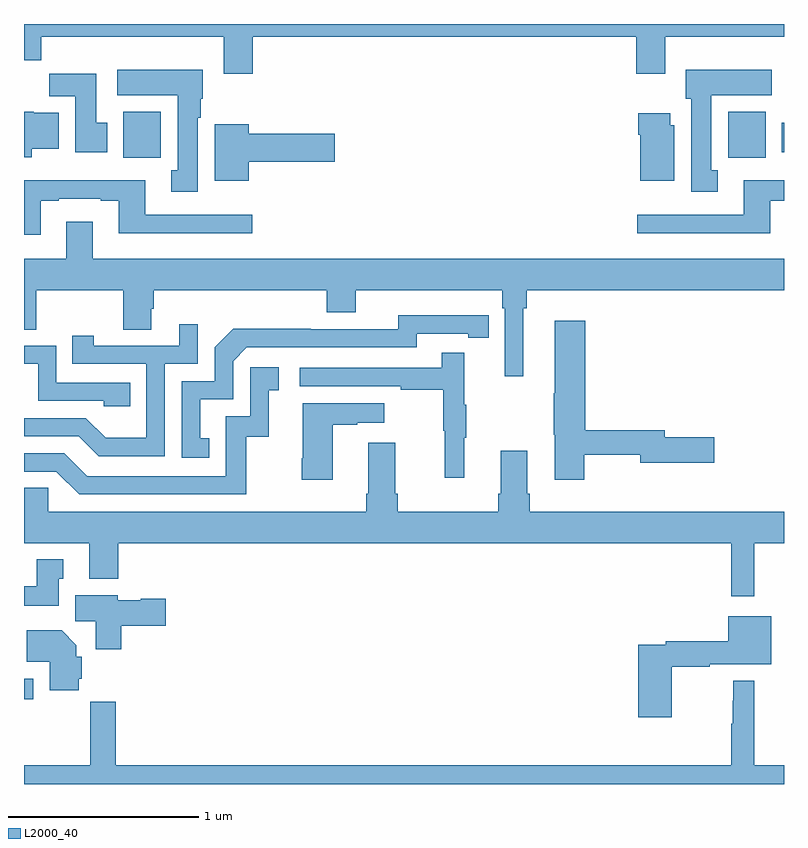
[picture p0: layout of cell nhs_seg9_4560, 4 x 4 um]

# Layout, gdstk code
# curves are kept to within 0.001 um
import gdstk
lib = gdstk.Library(unit=1e-6, precision=1e-09)
def R(c, l, rs):  # rectangles x0, y0, x1, y1
    for r in rs: c.add(gdstk.rectangle(r[:2], r[2:], *l))
def P(c, l, *ps):  # polygons
    for p in ps: c.add(gdstk.Polygon(p, *l))
L2000_40 = (2000, 40)

nhs_seg9_4560 = lib.new_cell('nhs_seg9_4560')
R(nhs_seg9_4560, L2000_40, [(373,1180.947,373.048,1181.055), (373.523,1183.796,373.72,1184.038), (376.706,1183.796,376.903,1184.038), (376.988,1183.824,377,1183.98)])
P(nhs_seg9_4560, L2000_40, [(374.204,1184.432),(376.223,1184.432),(376.223,1184.238),(376.375,1184.238),(376.375,1184.432),(377,1184.432),(377,1184.5),(373,1184.5),(373,1184.308),(373.091,1184.308),(373.091,1184.432),(374.051,1184.432),(374.051,1184.238),(374.204,1184.238)],
  [(373.915,1184.006),(373.93,1184.006),(373.93,1184.106),(373.942,1184.106),(373.942,1184.26),(373.491,1184.26),(373.491,1184.126),(373.808,1184.126),(373.808,1183.73),(373.775,1183.73),(373.775,1183.617),(373.915,1183.617)],
  [(376.651,1183.73),(376.618,1183.73),(376.618,1184.126),(376.936,1184.126),(376.936,1184.26),(376.484,1184.26),(376.484,1184.106),(376.511,1184.106),(376.511,1183.617),(376.651,1183.617)],
  [(373.438,1183.98),(373.381,1183.98),(373.381,1184.239),(373.132,1184.239),(373.132,1184.12),(373.271,1184.12),(373.271,1183.824),(373.438,1183.824)],
  [(373.042,1183.844),(373.183,1183.844),(373.183,1184.032),(373.05,1184.032),(373.05,1184.038),(373,1184.038),(373,1183.8),(373.042,1183.8)],
  [(376.423,1183.968),(376.402,1183.968),(376.402,1184.029),(376.232,1184.029),(376.232,1183.916),(376.244,1183.916),(376.244,1183.676),(376.423,1183.676)],
  [(374.182,1183.775),(374.635,1183.775),(374.635,1183.922),(374.182,1183.922),(374.182,1183.972),(374.003,1183.972),(374.003,1183.676),(374.182,1183.676)],
  [(373.087,1183.569),(373.183,1183.569),(373.183,1183.581),(373.403,1183.581),(373.403,1183.569),(373.499,1183.569),(373.499,1183.4),(374.2,1183.4),(374.2,1183.497),(373.639,1183.497),(373.639,1183.678),(373,1183.678),(373,1183.392),(373.087,1183.392)],
  [(376.927,1183.569),(377,1183.569),(377,1183.678),(376.787,1183.678),(376.787,1183.497),(376.227,1183.497),(376.227,1183.4),(376.927,1183.4)],
  [(375.628,1183.004),(375.647,1183.004),(375.647,1183.1),(377,1183.1),(377,1183.264),(373.363,1183.264),(373.363,1183.459),(373.223,1183.459),(373.223,1183.264),(373,1183.264),(373,1182.892),(373.065,1182.892),(373.065,1183.1),(373.522,1183.1),(373.522,1182.892),(373.669,1182.892),(373.669,1183.002),(373.682,1183.002),(373.682,1183.1),(374.594,1183.1),(374.594,1182.983),(374.746,1182.983),(374.746,1183.1),(375.518,1183.1),(375.518,1183.004),(375.531,1183.004),(375.531,1182.645),(375.628,1182.645)],
  [(373.976,1182.321),(373.927,1182.321),(373.927,1182.525),(374.1,1182.525),(374.1,1182.726),(374.172,1182.798),(375.066,1182.798),(375.066,1182.87),(375.338,1182.87),(375.338,1182.85),(375.446,1182.85),(375.446,1182.966),(374.97,1182.967),(374.97,1182.894),(374.51,1182.894),(374.51,1182.896),(374.102,1182.896),(374.004,1182.798),(374.004,1182.621),(373.83,1182.621),(373.83,1182.216),(373.976,1182.216)],
  [(375.948,1182.234),(376.244,1182.234),(376.244,1182.191),(376.633,1182.191),(376.633,1182.326),(376.372,1182.326),(376.372,1182.362),(375.953,1182.362),(375.953,1182.937),(375.794,1182.937),(375.794,1182.557),(375.787,1182.557),(375.787,1182.339),(375.794,1182.339),(375.794,1182.102),(375.948,1182.102)],
  [(373.74,1182.711),(373.914,1182.711),(373.914,1182.919),(373.817,1182.919),(373.817,1182.807),(373.366,1182.807),(373.366,1182.859),(373.255,1182.859),(373.255,1182.711),(373.644,1182.711),(373.644,1182.322),(373.43,1182.322),(373.326,1182.426),(373,1182.426),(373,1182.33),(373.289,1182.33),(373.394,1182.225),(373.74,1182.225)],
  [(373.559,1182.612),(373.17,1182.612),(373.17,1182.807),(373,1182.807),(373,1182.711),(373.074,1182.711),(373.074,1182.516),(373.419,1182.516),(373.419,1182.489),(373.559,1182.489)],
  [(375.317,1182.323),(375.328,1182.323),(375.328,1182.497),(375.317,1182.497),(375.317,1182.769),(375.199,1182.769),(375.199,1182.69),(374.451,1182.69),(374.451,1182.594),(374.983,1182.594),(374.983,1182.574),(375.207,1182.574),(375.207,1182.36),(375.214,1182.36),(375.214,1182.111),(375.317,1182.111)],
  [(374.17,1182.327),(374.288,1182.327),(374.288,1182.573),(374.341,1182.573),(374.341,1182.694),(374.19,1182.694),(374.19,1182.435),(374.061,1182.435),(374.061,1182.12),(373.332,1182.12),(373.212,1182.24),(373,1182.24),(373,1182.144),(373.17,1182.144),(373.29,1182.024),(374.17,1182.024)],
  [(374.626,1182.391),(374.753,1182.391),(374.753,1182.401),(374.896,1182.401),(374.896,1182.505),(374.468,1182.505),(374.468,1182.214),(374.461,1182.214),(374.461,1182.102),(374.626,1182.102)],
  [(376.843,1181.768),(377,1181.768),(377,1181.932),(375.662,1181.932),(375.662,1182.028),(375.649,1182.028),(375.649,1182.253),(375.509,1182.253),(375.509,1182.028),(375.497,1182.028),(375.497,1181.932),(374.966,1181.932),(374.966,1182.028),(374.953,1182.028),(374.953,1182.295),(374.813,1182.295),(374.813,1182.028),(374.801,1182.028),(374.801,1181.932),(373.128,1181.932),(373.128,1182.059),(373,1182.059),(373,1181.768),(373.343,1181.768),(373.343,1181.579),(373.496,1181.579),(373.496,1181.768),(376.722,1181.768),(376.722,1181.487),(376.843,1181.487)],
  [(373.183,1181.58),(373.207,1181.58),(373.207,1181.683),(373.067,1181.683),(373.067,1181.542),(373,1181.542),(373,1181.438),(373.183,1181.438)],
  [(373.511,1181.333),(373.747,1181.333),(373.747,1181.475),(373.614,1181.475),(373.614,1181.467),(373.494,1181.467),(373.494,1181.494),(373.271,1181.494),(373.271,1181.356),(373.377,1181.356),(373.377,1181.208),(373.511,1181.208)],
  [(376.41,1181.116),(376.61,1181.116),(376.61,1181.129),(376.933,1181.129),(376.933,1181.383),(376.706,1181.383),(376.706,1181.252),(376.378,1181.252),(376.378,1181.232),(376.232,1181.232),(376.232,1180.851),(376.41,1180.851)],
  [(373.289,1181.055),(373.305,1181.055),(373.305,1181.169),(373.276,1181.169),(373.276,1181.23),(373.198,1181.308),(373.015,1181.308),(373.015,1181.144),(373.136,1181.144),(373.136,1180.994),(373.289,1180.994)],
  [(377,1180.6),(376.843,1180.6),(376.843,1181.044),(376.732,1181.044),(376.732,1180.937),(376.729,1180.937),(376.729,1180.817),(376.722,1180.817),(376.722,1180.6),(373.484,1180.6),(373.484,1180.933),(373.348,1180.933),(373.348,1180.6),(373,1180.6),(373,1180.5),(377,1180.5)])

lib.write_gds('nhs_seg9_4560.gds')
